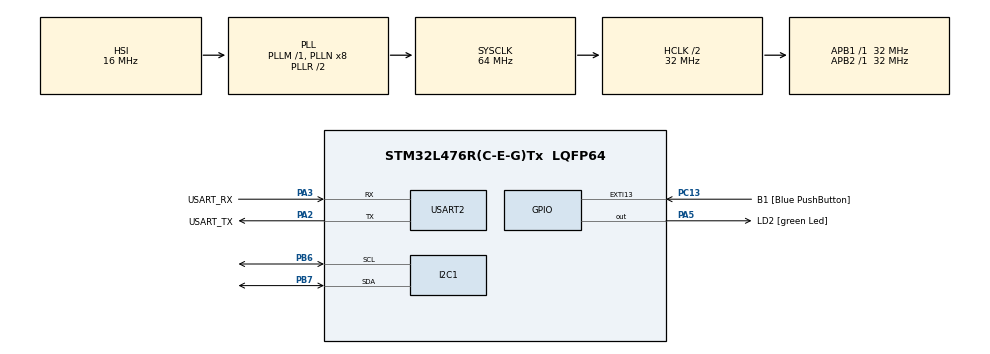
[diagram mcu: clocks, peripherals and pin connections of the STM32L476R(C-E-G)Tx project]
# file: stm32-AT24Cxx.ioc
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I2C1.Timing=0x00707CBB
Mcu.Family=STM32L4
Mcu.Name=STM32L476R(C-E-G)Tx
Mcu.Package=LQFP64
NVIC.PriorityGroup=NVIC_PRIORITYGROUP_4
PA13\ (JTMS-SWDIO).GPIO_Label=TMS
PA13\ (JTMS-SWDIO).Mode=Trace_Asynchronous_SW
PA13\ (JTMS-SWDIO).Signal=SYS_JTMS-SWDIO
PA14\ (JTCK-SWCLK).GPIO_Label=TCK
PA14\ (JTCK-SWCLK).Mode=Trace_Asynchronous_SW
PA14\ (JTCK-SWCLK).Signal=SYS_JTCK-SWCLK
PA2.GPIO_Label=USART_TX
PA2.GPIO_Mode=GPIO_MODE_AF_PP
PA2.GPIO_PuPd=GPIO_NOPULL
PA2.GPIO_Speed=GPIO_SPEED_FREQ_VERY_HIGH
PA2.Mode=Asynchronous
PA2.Signal=USART2_TX
PA3.GPIO_Label=USART_RX
PA3.GPIO_Mode=GPIO_MODE_AF_PP
PA3.GPIO_PuPd=GPIO_NOPULL
PA3.GPIO_Speed=GPIO_SPEED_FREQ_VERY_HIGH
PA3.Mode=Asynchronous
PA3.Signal=USART2_RX
PA5.GPIO_Label=LD2 [green Led]
PA5.GPIO_ModeDefaultOutputPP=GPIO_MODE_OUTPUT_PP
PA5.GPIO_PuPd=GPIO_NOPULL
PA5.GPIO_Speed=GPIO_SPEED_FREQ_LOW
PA5.Signal=GPIO_Output
PB3\ (JTDO-TRACESWO).Mode=Trace_Asynchronous_SW
PB3\ (JTDO-TRACESWO).Signal=SYS_JTDO-SWO
PB6.Mode=I2C
PB6.Signal=I2C1_SCL
PB7.Mode=I2C
PB7.Signal=I2C1_SDA
PC13.GPIO_Label=B1 [Blue PushButton]
PC13.GPIO_ModeDefaultEXTI=GPIO_MODE_IT_FALLING
PC13.GPIO_PuPd=GPIO_NOPULL
PC13.Signal=GPXTI13
PC14-OSC32_IN\ (PC14).Signal=RCC_OSC32_IN
PC15-OSC32_OUT\ (PC15).Signal=RCC_OSC32_OUT
PH0-OSC_IN\ (PH0).Signal=RCC_OSC_IN
PH1-OSC_OUT\ (PH1).Signal=RCC_OSC_OUT
ProjectManager.HeapSize=0x200
ProjectManager.StackSize=0x400
ProjectManager.TargetToolchain=STM32CubeIDE
RCC.ADCFreq_Value=64000000
RCC.AHBCLKDivider=RCC_SYSCLK_DIV2
RCC.AHBFreq_Value=32000000
RCC.APB1Freq_Value=32000000
RCC.APB1TimFreq_Value=32000000
RCC.APB2Freq_Value=32000000
RCC.APB2TimFreq_Value=32000000
RCC.CortexFreq_Value=32000000
RCC.HCLKFreq_Value=32000000
RCC.HSE_VALUE=8000000
RCC.HSI_VALUE=16000000
RCC.LSE_VALUE=32768
RCC.MSI_VALUE=4000000
RCC.PLLSourceVirtual=RCC_PLLSOURCE_HSI
RCC.PREFETCH_ENABLE=1
RCC.SYSCLKFreq_VALUE=64000000
RCC.SYSCLKSource=RCC_SYSCLKSOURCE_PLLCLK
RCC.USBFreq_Value=64000000
RCC.VCOOutputFreq_Value=128000000
USART2.VirtualMode-Asynchronous=VM_ASYNC
board=NUCLEO-L476RG

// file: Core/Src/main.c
/* USER CODE BEGIN Header */
/**
  ******************************************************************************
  * @file           : main.c
  * @brief          : Main program body
  ******************************************************************************
  * @attention
  *
  * <h2><center>&copy; Copyright (c) 2021 STMicroelectronics.
  * All rights reserved.</center></h2>
  *
  * This software component is licensed by ST under BSD 3-Clause license,
  * the "License"; You may not use this file except in compliance with the
  * License. You may obtain a copy of the License at:
  *                        opensource.org/licenses/BSD-3-Clause
  *
  ******************************************************************************
  */
/* USER CODE END Header */
#include "main.h"

/* USER CODE BEGIN Includes */
#include "stdio.h"
#include "AT24Cxx.h"
/* USER CODE END Includes */

/* USER CODE BEGIN PM */

#define NumofByte 32768

/* USER CODE END PM */

I2C_HandleTypeDef hi2c1;

UART_HandleTypeDef huart2;

void SystemClock_Config(void);
static void MX_GPIO_Init(void);
static void MX_I2C1_Init(void);
static void MX_USART2_UART_Init(void);

/* USER CODE BEGIN 0 */

/*
int __io_putchar(int ch)
{
	ITM_SendChar(ch);
	return(ch);
}
*/
int __io_putchar(int ch)
{

	 HAL_UART_Transmit(&huart2, (uint8_t *)&ch, 1, 0xFFFF);
	 return ch;
}

int  _write(int file, char *ptr, int len)
{
	int DataIdx;
	for (DataIdx = 0; DataIdx < len; DataIdx++)
	{
		__io_putchar(*ptr++);
	}
	return   len;
}

/* USER CODE END 0 */

int main(void)
{

  /* MCU Configuration--------------------------------------------------------*/

  /* Reset of all peripherals, Initializes the Flash interface and the Systick. */
  HAL_Init();

  /* Configure the system clock */
  SystemClock_Config();

  /* Initialize all configured peripherals */
  MX_GPIO_Init();
  MX_I2C1_Init();
  MX_USART2_UART_Init();
  /* USER CODE BEGIN 2 */
  uint8_t dataWR[NumofByte];

  for(uint32_t i=0;i<NumofByte/256;i++)
	  for(uint32_t j=i*256,k=0;j<256*(i+1);j++,k++)
		  dataWR[j]=k;

  uint8_t m=0;
  for(uint32_t i=255;i<NumofByte;i+=256,m++)
  {
	  dataWR[i]=m;
  }

  if(HAL_I2C_IsDeviceReady(AT24Cxx_I2C,Adr_AT24Cxx,1,10)==HAL_OK)
  {
	  AT24Cxx_Erase(AT24C256,Adr_AT24Cxx,0,NumofByte-1);
	  AT24Cxx_Write(AT24C256,Adr_AT24Cxx,0,dataWR,NumofByte);

	  for(uint32_t i=0;i<NumofByte;i++)
	  {
		  dataWR[i]=0;
	  }
	  AT24Cxx_Read(AT24C256,Adr_AT24Cxx,0,dataWR,NumofByte);

	  printf("START\n");
	  for(uint32_t i=0;i<NumofByte;i++)
	  {
		  printf("mass[%d]=%d\n",(int)i,dataWR[i]);
	  }

	  printf("END\n");

  } else
  {
	  printf("ERROR\n");
  }

  /* USER CODE END 2 */

  /* Infinite loop */
  while (1)
  {

  }
}

void SystemClock_Config(void)
{
  RCC_OscInitTypeDef RCC_OscInitStruct = {0};
  RCC_ClkInitTypeDef RCC_ClkInitStruct = {0};
  RCC_PeriphCLKInitTypeDef PeriphClkInit = {0};

  /** Initializes the RCC Oscillators according to the specified parameters
  * in the RCC_OscInitTypeDef structure.
  */
  RCC_OscInitStruct.OscillatorType = RCC_OSCILLATORTYPE_HSI;
  RCC_OscInitStruct.HSIState = RCC_HSI_ON;
  RCC_OscInitStruct.HSICalibrationValue = RCC_HSICALIBRATION_DEFAULT;
  RCC_OscInitStruct.PLL.PLLState = RCC_PLL_ON;
  RCC_OscInitStruct.PLL.PLLSource = RCC_PLLSOURCE_HSI;
  RCC_OscInitStruct.PLL.PLLM = 1;
  RCC_OscInitStruct.PLL.PLLN = 8;
  RCC_OscInitStruct.PLL.PLLP = RCC_PLLP_DIV7;
  RCC_OscInitStruct.PLL.PLLQ = RCC_PLLQ_DIV2;
  RCC_OscInitStruct.PLL.PLLR = RCC_PLLR_DIV2;
  if (HAL_RCC_OscConfig(&RCC_OscInitStruct) != HAL_OK)
  {
    Error_Handler();
  }
  /** Initializes the CPU, AHB and APB buses clocks
  */
  RCC_ClkInitStruct.ClockType = RCC_CLOCKTYPE_HCLK|RCC_CLOCKTYPE_SYSCLK
                              |RCC_CLOCKTYPE_PCLK1|RCC_CLOCKTYPE_PCLK2;
  RCC_ClkInitStruct.SYSCLKSource = RCC_SYSCLKSOURCE_PLLCLK;
  RCC_ClkInitStruct.AHBCLKDivider = RCC_SYSCLK_DIV2;
  RCC_ClkInitStruct.APB1CLKDivider = RCC_HCLK_DIV1;
  RCC_ClkInitStruct.APB2CLKDivider = RCC_HCLK_DIV1;

  if (HAL_RCC_ClockConfig(&RCC_ClkInitStruct, FLASH_LATENCY_1) != HAL_OK)
  {
    Error_Handler();
  }
  PeriphClkInit.PeriphClockSelection = RCC_PERIPHCLK_USART2|RCC_PERIPHCLK_I2C1;
  PeriphClkInit.Usart2ClockSelection = RCC_USART2CLKSOURCE_PCLK1;
  PeriphClkInit.I2c1ClockSelection = RCC_I2C1CLKSOURCE_PCLK1;
  if (HAL_RCCEx_PeriphCLKConfig(&PeriphClkInit) != HAL_OK)
  {
    Error_Handler();
  }
  /** Configure the main internal regulator output voltage
  */
  if (HAL_PWREx_ControlVoltageScaling(PWR_REGULATOR_VOLTAGE_SCALE1) != HAL_OK)
  {
    Error_Handler();
  }
}

static void MX_I2C1_Init(void)
{

  hi2c1.Instance = I2C1;
  hi2c1.Init.Timing = 0x00707CBB;
  hi2c1.Init.OwnAddress1 = 0;
  hi2c1.Init.AddressingMode = I2C_ADDRESSINGMODE_7BIT;
  hi2c1.Init.DualAddressMode = I2C_DUALADDRESS_DISABLE;
  hi2c1.Init.OwnAddress2 = 0;
  hi2c1.Init.OwnAddress2Masks = I2C_OA2_NOMASK;
  hi2c1.Init.GeneralCallMode = I2C_GENERALCALL_DISABLE;
  hi2c1.Init.NoStretchMode = I2C_NOSTRETCH_DISABLE;
  if (HAL_I2C_Init(&hi2c1) != HAL_OK)
  {
    Error_Handler();
  }
  /** Configure Analogue filter
  */
  if (HAL_I2CEx_ConfigAnalogFilter(&hi2c1, I2C_ANALOGFILTER_ENABLE) != HAL_OK)
  {
    Error_Handler();
  }
  /** Configure Digital filter
  */
  if (HAL_I2CEx_ConfigDigitalFilter(&hi2c1, 0) != HAL_OK)
  {
    Error_Handler();
  }

}

static void MX_USART2_UART_Init(void)
{

  huart2.Instance = USART2;
  huart2.Init.BaudRate = 115200;
  huart2.Init.WordLength = UART_WORDLENGTH_8B;
  huart2.Init.StopBits = UART_STOPBITS_1;
  huart2.Init.Parity = UART_PARITY_NONE;
  huart2.Init.Mode = UART_MODE_TX_RX;
  huart2.Init.HwFlowCtl = UART_HWCONTROL_NONE;
  huart2.Init.OverSampling = UART_OVERSAMPLING_16;
  huart2.Init.OneBitSampling = UART_ONE_BIT_SAMPLE_DISABLE;
  huart2.AdvancedInit.AdvFeatureInit = UART_ADVFEATURE_NO_INIT;
  if (HAL_UART_Init(&huart2) != HAL_OK)
  {
    Error_Handler();
  }

}

static void MX_GPIO_Init(void)
{
  GPIO_InitTypeDef GPIO_InitStruct = {0};

  /* GPIO Ports Clock Enable */
  __HAL_RCC_GPIOC_CLK_ENABLE();
  __HAL_RCC_GPIOH_CLK_ENABLE();
  __HAL_RCC_GPIOA_CLK_ENABLE();
  __HAL_RCC_GPIOB_CLK_ENABLE();

  /*Configure GPIO pin Output Level */
  HAL_GPIO_WritePin(LD2_GPIO_Port, LD2_Pin, GPIO_PIN_RESET);

  /*Configure GPIO pin : B1_Pin */
  GPIO_InitStruct.Pin = B1_Pin;
  GPIO_InitStruct.Mode = GPIO_MODE_IT_FALLING;
  GPIO_InitStruct.Pull = GPIO_NOPULL;
  HAL_GPIO_Init(B1_GPIO_Port, &GPIO_InitStruct);

  /*Configure GPIO pin : LD2_Pin */
  GPIO_InitStruct.Pin = LD2_Pin;
  GPIO_InitStruct.Mode = GPIO_MODE_OUTPUT_PP;
  GPIO_InitStruct.Pull = GPIO_NOPULL;
  GPIO_InitStruct.Speed = GPIO_SPEED_FREQ_LOW;
  HAL_GPIO_Init(LD2_GPIO_Port, &GPIO_InitStruct);

}

void Error_Handler(void)
{
  __disable_irq();
  while (1)
  {
  }
}

/************************ (C) COPYRIGHT STMicroelectronics *****END OF FILE****/
